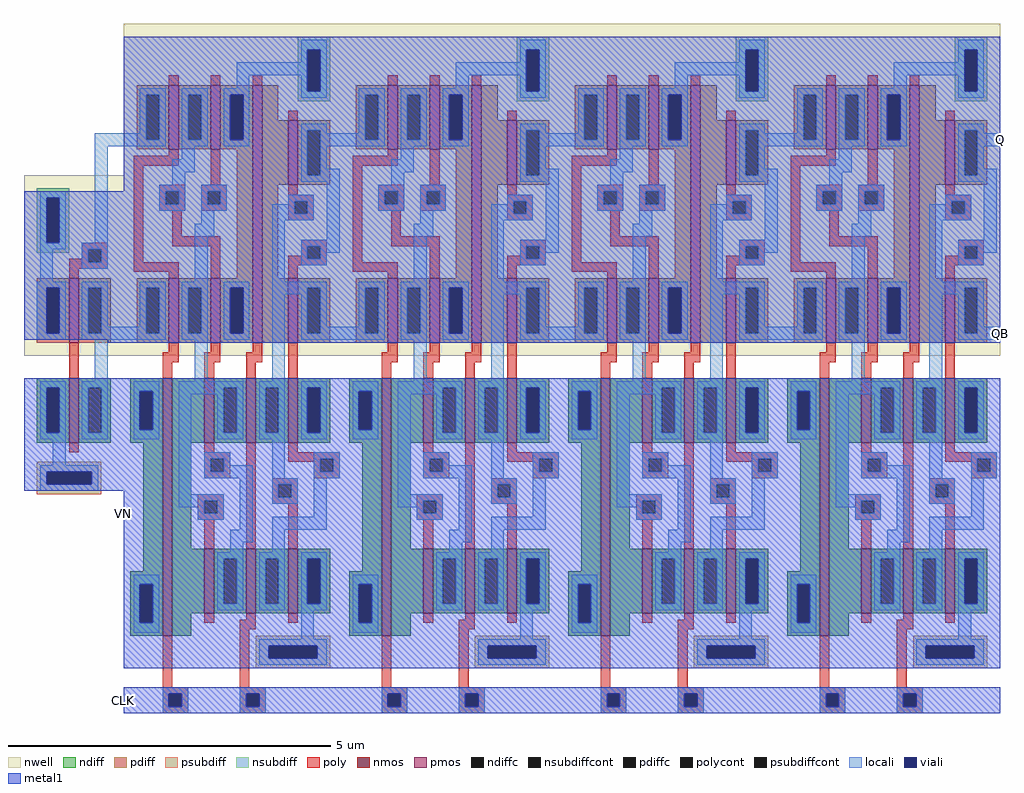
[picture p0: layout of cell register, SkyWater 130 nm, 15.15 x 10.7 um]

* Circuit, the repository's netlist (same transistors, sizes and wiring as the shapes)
* NGSPICE file created from register.ext - technology: sky130A

.subckt csrl_dff D DB CLK Q QB VP VN
X0 a_330_630# CLK VP VP sky130_fd_pr__pfet_01v8 ad=0.433 pd=3.03 as=0.5 ps=3.16 w=4 l=0.15
X1 a_50_n280# CLK VN VN sky130_fd_pr__nfet_01v8 ad=0.533 pd=3.13 as=1.6 ps=9.4 w=4 l=0.15
X2 Q QB a_330_630# VP sky130_fd_pr__pfet_01v8 ad=0.5 pd=3 as=0.433 ps=3.03 w=1 l=0.15
X3 a_70_630# CLK DB VP sky130_fd_pr__pfet_01v8 ad=0.25 pd=1.5 as=0.5 ps=3 w=1 l=0.15
X4 Q CLK a_10_1040# VN sky130_fd_pr__nfet_01v8 ad=0.25 pd=1.5 as=0.25 ps=1.5 w=1 l=0.15
X5 a_10_1040# CLK D VP sky130_fd_pr__pfet_01v8 ad=0.25 pd=1.5 as=0.5 ps=3 w=1 l=0.15
X6 a_10_1040# a_70_630# a_50_n280# VN sky130_fd_pr__nfet_01v8 ad=0.25 pd=1.5 as=0.533 ps=3.13 w=1 l=0.15
X7 QB Q a_330_630# VP sky130_fd_pr__pfet_01v8 ad=0.5 pd=3 as=0.433 ps=3.03 w=1 l=0.15
X8 VP a_70_630# a_10_1040# VP sky130_fd_pr__pfet_01v8 ad=0.5 pd=3.16 as=0.25 ps=1.5 w=1 l=0.15
X9 QB CLK a_70_630# VN sky130_fd_pr__nfet_01v8 ad=0.25 pd=1.5 as=0.25 ps=1.5 w=1 l=0.15
X10 a_70_630# a_10_1040# a_50_n280# VN sky130_fd_pr__nfet_01v8 ad=0.25 pd=1.5 as=0.533 ps=3.13 w=1 l=0.15
X11 VP a_10_1040# a_70_630# VP sky130_fd_pr__pfet_01v8 ad=0.5 pd=3.16 as=0.25 ps=1.5 w=1 l=0.15
X12 VN Q QB VN sky130_fd_pr__nfet_01v8 ad=0.5 pd=3 as=0.25 ps=1.5 w=1 l=0.15
X13 VN QB Q VN sky130_fd_pr__nfet_01v8 ad=0.5 pd=3 as=0.25 ps=1.5 w=1 l=0.15
.ends

.subckt inverter2 A Y VP VN
X0 Y A VP VP sky130_fd_pr__pfet_01v8 ad=0.5 pd=3 as=0.5 ps=3 w=1 l=0.15
X1 Y A VN VN sky130_fd_pr__nfet_01v8 ad=0.5 pd=3 as=0.5 ps=3 w=1 l=0.15
.ends


* Top level circuit register

Xcsrl_dff_0 csrl_dff_0/D inverter2_0/Y CLK csrl_dff_1/D csrl_dff_1/DB csrl_dff_3/VP
+ VN csrl_dff
Xcsrl_dff_1 csrl_dff_1/D csrl_dff_1/DB CLK csrl_dff_2/D csrl_dff_2/DB csrl_dff_3/VP
+ VN csrl_dff
Xcsrl_dff_2 csrl_dff_2/D csrl_dff_2/DB CLK csrl_dff_3/D csrl_dff_3/DB csrl_dff_3/VP
+ VN csrl_dff
Xcsrl_dff_3 csrl_dff_3/D csrl_dff_3/DB CLK Q QB csrl_dff_3/VP VN csrl_dff
Xinverter2_0 csrl_dff_0/D inverter2_0/Y csrl_dff_3/VP VN inverter2
.end

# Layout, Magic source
magic
tech sky130A
<< locali >>
rect 0 820 25 840
rect 1335 820 1360 840
rect 0 520 25 540
rect 1335 520 1360 540
<< metal1 >>
rect 0 515 20 990
rect 0 15 20 460
rect 0 -60 20 -20
use csrl_dff  csrl_dff_0
transform 1 0 50 0 1 200
box -50 -260 290 810
use csrl_dff  csrl_dff_1
transform 1 0 390 0 1 200
box -50 -260 290 810
use csrl_dff  csrl_dff_2
transform 1 0 730 0 1 200
box -50 -260 290 810
use csrl_dff  csrl_dff_3
transform 1 0 1070 0 1 200
box -50 -260 290 810
use inverter2  inverter2_0
transform 1 0 -75 0 1 385
box -80 -105 75 455
<< labels >>
rlabel metal1 0 250 0 250 7 VN
rlabel metal1 0 -40 0 -40 7 CLK
rlabel locali 1360 830 1360 830 3 Q
rlabel locali 1360 530 1360 530 3 QB
<< end >>

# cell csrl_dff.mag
magic
tech sky130A
<< nwell >>
rect -50 295 290 810
<< nmos >>
rect 10 -140 25 260
rect 75 160 90 260
rect 140 160 155 260
rect 205 160 220 260
rect 75 -105 90 -5
rect 140 -105 155 -5
rect 205 -105 220 -5
<< pmos >>
rect 20 615 35 715
rect 85 615 100 715
rect 20 315 35 415
rect 85 315 100 415
rect 150 315 165 715
rect 205 560 220 660
rect 205 315 220 415
<< ndiff >>
rect -40 240 10 260
rect -40 180 -25 240
rect -5 180 10 240
rect -40 160 10 180
rect -20 -40 10 160
rect -40 -60 10 -40
rect -40 -120 -25 -60
rect -5 -120 10 -60
rect -40 -140 10 -120
rect 25 160 75 260
rect 90 245 140 260
rect 90 175 105 245
rect 125 175 140 245
rect 90 160 140 175
rect 155 245 205 260
rect 155 175 170 245
rect 190 175 205 245
rect 155 160 205 175
rect 220 245 270 260
rect 220 175 235 245
rect 255 175 270 245
rect 220 160 270 175
rect 25 -5 55 160
rect 25 -105 75 -5
rect 90 -20 140 -5
rect 90 -90 105 -20
rect 125 -90 140 -20
rect 90 -105 140 -90
rect 155 -20 205 -5
rect 155 -90 170 -20
rect 190 -90 205 -20
rect 155 -105 205 -90
rect 220 -20 270 -5
rect 220 -90 235 -20
rect 255 -90 270 -20
rect 220 -105 270 -90
rect 25 -140 55 -105
<< pdiff >>
rect -30 700 20 715
rect -30 630 -15 700
rect 5 630 20 700
rect -30 615 20 630
rect 35 700 85 715
rect 35 630 50 700
rect 70 630 85 700
rect 35 615 85 630
rect 100 700 150 715
rect 100 630 115 700
rect 135 630 150 700
rect 100 615 150 630
rect 125 415 150 615
rect -30 400 20 415
rect -30 330 -15 400
rect 5 330 20 400
rect -30 315 20 330
rect 35 400 85 415
rect 35 330 50 400
rect 70 330 85 400
rect 35 315 85 330
rect 100 400 150 415
rect 100 330 115 400
rect 135 330 150 400
rect 100 315 150 330
rect 165 660 190 715
rect 165 560 205 660
rect 220 645 270 660
rect 220 575 235 645
rect 255 575 270 645
rect 220 560 270 575
rect 165 415 190 560
rect 165 315 205 415
rect 220 400 270 415
rect 220 330 235 400
rect 255 330 270 400
rect 220 315 270 330
<< ndiffc >>
rect -25 180 -5 240
rect -25 -120 -5 -60
rect 105 175 125 245
rect 170 175 190 245
rect 235 175 255 245
rect 105 -90 125 -20
rect 170 -90 190 -20
rect 235 -90 255 -20
<< pdiffc >>
rect -15 630 5 700
rect 50 630 70 700
rect 115 630 135 700
rect -15 330 5 400
rect 50 330 70 400
rect 115 330 135 400
rect 235 575 255 645
rect 235 330 255 400
<< psubdiff >>
rect 155 -155 270 -140
rect 155 -175 175 -155
rect 250 -175 270 -155
rect 155 -190 270 -175
<< nsubdiff >>
rect 220 770 270 790
rect 220 705 235 770
rect 255 705 270 770
rect 220 690 270 705
<< psubdiffcont >>
rect 175 -175 250 -155
<< nsubdiffcont >>
rect 235 705 255 770
<< poly >>
rect 20 715 35 730
rect 85 715 100 730
rect 150 715 165 730
rect 20 605 35 615
rect -35 590 35 605
rect -35 440 -20 590
rect 85 560 100 615
rect 5 550 45 560
rect 5 530 15 550
rect 35 530 45 550
rect 5 520 45 530
rect 70 550 110 560
rect 70 530 80 550
rect 100 530 110 550
rect 70 520 110 530
rect 25 480 40 520
rect 25 465 100 480
rect -35 425 35 440
rect 20 415 35 425
rect 85 415 100 465
rect 205 660 220 675
rect 205 545 220 560
rect 205 535 245 545
rect 205 515 215 535
rect 235 515 245 535
rect 205 505 245 515
rect 225 465 265 475
rect 225 450 235 465
rect 205 445 235 450
rect 255 445 265 465
rect 205 435 265 445
rect 205 415 220 435
rect 20 300 35 315
rect 85 300 100 315
rect 150 300 165 315
rect 10 285 35 300
rect 75 285 100 300
rect 140 285 165 300
rect 10 260 25 285
rect 75 260 90 285
rect 140 260 155 285
rect 205 260 220 315
rect 75 145 90 160
rect 75 135 115 145
rect 75 115 85 135
rect 105 115 115 135
rect 75 105 115 115
rect 65 70 105 80
rect 65 50 75 70
rect 95 50 105 70
rect 65 40 105 50
rect 75 -5 90 40
rect 140 -5 155 160
rect 205 145 220 160
rect 205 135 285 145
rect 205 130 255 135
rect 245 115 255 130
rect 275 115 285 135
rect 245 105 285 115
rect 180 95 220 105
rect 180 75 190 95
rect 210 75 220 95
rect 180 65 220 75
rect 205 -5 220 65
rect 75 -120 90 -105
rect 140 -115 155 -105
rect 130 -130 155 -115
rect 205 -120 220 -105
rect 10 -220 25 -140
rect 130 -220 145 -130
rect 10 -230 50 -220
rect 10 -250 20 -230
rect 40 -250 50 -230
rect 10 -260 50 -250
rect 130 -230 170 -220
rect 130 -250 140 -230
rect 160 -250 170 -230
rect 130 -260 170 -250
<< polycont >>
rect 15 530 35 550
rect 80 530 100 550
rect 215 515 235 535
rect 235 445 255 465
rect 85 115 105 135
rect 75 50 95 70
rect 255 115 275 135
rect 190 75 210 95
rect 20 -250 40 -230
rect 140 -250 160 -230
<< locali >>
rect 225 770 265 785
rect 225 750 235 770
rect 125 730 235 750
rect 125 710 145 730
rect -25 700 15 710
rect -25 640 -15 700
rect -50 630 -15 640
rect 5 630 15 700
rect -50 620 15 630
rect 40 700 80 710
rect 40 630 50 700
rect 70 630 80 700
rect 40 620 80 630
rect 105 700 145 710
rect 105 630 115 700
rect 135 630 145 700
rect 225 705 235 730
rect 255 705 265 770
rect 225 695 265 705
rect 105 620 145 630
rect 225 645 265 655
rect 40 600 60 620
rect 25 580 60 600
rect 25 560 45 580
rect 225 575 235 645
rect 255 640 265 645
rect 255 620 290 640
rect 255 585 265 620
rect 255 575 285 585
rect 225 565 285 575
rect 5 550 45 560
rect 5 530 15 550
rect 35 530 45 550
rect 5 520 45 530
rect 70 550 110 560
rect 70 530 80 550
rect 100 530 110 550
rect 205 535 245 545
rect 205 530 215 535
rect 70 520 110 530
rect 70 500 90 520
rect 60 480 90 500
rect 180 515 215 530
rect 235 515 245 535
rect 180 505 245 515
rect 60 410 80 480
rect 180 410 200 505
rect 265 475 285 565
rect 225 465 285 475
rect 225 445 235 465
rect 255 455 285 465
rect 255 445 265 455
rect 225 435 265 445
rect -25 400 15 410
rect -25 340 -15 400
rect -50 330 -15 340
rect 5 330 15 400
rect -50 320 15 330
rect 40 400 80 410
rect 40 330 50 400
rect 70 330 80 400
rect 40 320 80 330
rect 105 400 145 410
rect 105 330 115 400
rect 135 330 145 400
rect 105 320 145 330
rect 180 400 265 410
rect 180 390 235 400
rect 60 255 80 320
rect 180 255 200 390
rect 225 330 235 390
rect 255 340 265 400
rect 255 330 290 340
rect 225 320 290 330
rect -35 240 5 255
rect -35 180 -25 240
rect -5 180 5 240
rect -35 165 5 180
rect 35 245 135 255
rect 35 235 105 245
rect 35 80 55 235
rect 95 175 105 235
rect 125 175 135 245
rect 95 165 135 175
rect 160 245 200 255
rect 160 175 170 245
rect 190 175 200 245
rect 160 165 200 175
rect 225 245 265 255
rect 225 175 235 245
rect 255 175 265 245
rect 225 165 265 175
rect 75 135 115 145
rect 75 115 85 135
rect 105 125 115 135
rect 105 115 150 125
rect 75 105 150 115
rect 35 70 105 80
rect 35 60 75 70
rect 65 50 75 60
rect 95 50 105 70
rect 65 40 105 50
rect 130 25 150 105
rect 180 105 200 165
rect 245 135 285 145
rect 245 115 255 135
rect 275 115 285 135
rect 245 105 285 115
rect 180 95 220 105
rect 180 75 190 95
rect 210 75 220 95
rect 180 65 220 75
rect 245 45 265 105
rect 115 5 150 25
rect 180 25 265 45
rect 115 -10 135 5
rect 180 -10 200 25
rect 95 -20 135 -10
rect -35 -60 5 -45
rect -35 -120 -25 -60
rect -5 -120 5 -60
rect 95 -90 105 -20
rect 125 -90 135 -20
rect 95 -100 135 -90
rect 160 -20 200 -10
rect 160 -90 170 -20
rect 190 -90 200 -20
rect 160 -100 200 -90
rect 225 -20 265 -10
rect 225 -90 235 -20
rect 255 -90 265 -20
rect 225 -100 265 -90
rect -35 -135 5 -120
rect 225 -145 245 -100
rect 160 -155 265 -145
rect 160 -175 175 -155
rect 250 -175 265 -155
rect 160 -185 265 -175
rect 10 -230 50 -220
rect 10 -250 20 -230
rect 40 -250 50 -230
rect 10 -260 50 -250
rect 130 -230 170 -220
rect 130 -250 140 -230
rect 160 -250 170 -230
rect 130 -260 170 -250
<< viali >>
rect 115 630 135 700
rect 235 705 255 770
rect 115 330 135 400
rect -25 180 -5 240
rect 235 175 255 245
rect -25 -120 -5 -60
rect 235 -90 255 -20
rect 175 -175 250 -155
rect 20 -250 40 -230
rect 140 -250 160 -230
<< metal1 >>
rect -50 770 290 790
rect -50 705 235 770
rect 255 705 290 770
rect -50 700 290 705
rect -50 630 115 700
rect 135 630 290 700
rect -50 400 290 630
rect -50 330 115 400
rect 135 330 290 400
rect -50 315 290 330
rect -50 245 290 260
rect -50 240 235 245
rect -50 180 -25 240
rect -5 180 235 240
rect -50 175 235 180
rect 255 175 290 245
rect -50 -20 290 175
rect -50 -60 235 -20
rect -50 -120 -25 -60
rect -5 -90 235 -60
rect 255 -90 290 -20
rect -5 -120 290 -90
rect -50 -155 290 -120
rect -50 -175 175 -155
rect 250 -175 290 -155
rect -50 -190 290 -175
rect -50 -230 290 -220
rect -50 -250 20 -230
rect 40 -250 140 -230
rect 160 -250 290 -230
rect -50 -260 290 -250
<< labels >>
rlabel metal1 -50 50 -50 50 3 VN
port 7 e
rlabel locali -50 330 -50 330 7 DB
port 2 w
rlabel metal1 -50 -240 -50 -240 7 CLK
port 3 w
rlabel metal1 -50 560 -50 560 7 VP
port 6 w
rlabel locali -50 630 -50 630 7 D
port 1 w
rlabel locali 290 330 290 330 3 QB
port 5 e
rlabel locali 290 630 290 630 3 Q
port 4 e
<< end >>

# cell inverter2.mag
magic
tech sky130A
<< nwell >>
rect -80 110 75 390
<< nmos >>
rect -10 -25 5 75
<< pmos >>
rect -10 130 5 230
<< ndiff >>
rect -60 60 -10 75
rect -60 -10 -45 60
rect -25 -10 -10 60
rect -60 -25 -10 -10
rect 5 60 55 75
rect 5 -10 20 60
rect 40 -10 55 60
rect 5 -25 55 -10
<< pdiff >>
rect -60 215 -10 230
rect -60 145 -45 215
rect -25 145 -10 215
rect -60 130 -10 145
rect 5 215 55 230
rect 5 145 20 215
rect 40 145 55 215
rect 5 130 55 145
<< ndiffc >>
rect -45 -10 -25 60
rect 20 -10 40 60
<< pdiffc >>
rect -45 145 -25 215
rect 20 145 40 215
<< psubdiff >>
rect -60 -70 40 -55
rect -60 -90 -45 -70
rect 25 -90 40 -70
rect -60 -105 40 -90
<< nsubdiff >>
rect -60 355 -10 370
rect -60 285 -45 355
rect -25 285 -10 355
rect -60 270 -10 285
<< psubdiffcont >>
rect -45 -90 25 -70
<< nsubdiffcont >>
rect -45 285 -25 355
<< poly >>
rect 10 275 50 285
rect 10 260 20 275
rect -10 255 20 260
rect 40 255 50 275
rect -10 245 50 255
rect -10 230 5 245
rect -10 75 5 130
rect -10 -40 5 -25
<< polycont >>
rect 20 255 40 275
<< locali >>
rect 30 435 75 455
rect -55 355 -15 365
rect -55 285 -45 355
rect -25 285 -15 355
rect 30 285 50 435
rect -55 275 -15 285
rect 10 275 50 285
rect -55 225 -35 275
rect 10 255 20 275
rect 40 255 50 275
rect 10 245 50 255
rect -60 215 -15 225
rect -60 145 -45 215
rect -25 145 -15 215
rect -60 135 -15 145
rect 10 215 50 225
rect 10 145 20 215
rect 40 155 50 215
rect 40 145 75 155
rect 10 135 75 145
rect 30 70 50 135
rect -55 60 -15 70
rect -55 -10 -45 60
rect -25 -10 -15 60
rect -55 -20 -15 -10
rect 10 60 50 70
rect 10 -10 20 60
rect 40 -10 50 60
rect 10 -20 50 -10
rect -35 -60 -15 -20
rect -55 -70 35 -60
rect -55 -90 -45 -70
rect 25 -90 35 -70
rect -55 -100 35 -90
<< viali >>
rect -45 285 -25 355
rect -45 145 -25 215
rect -45 -10 -25 60
rect -45 -90 25 -70
<< metal1 >>
rect -80 355 75 365
rect -80 285 -45 355
rect -25 285 75 355
rect -80 215 75 285
rect -80 145 -45 215
rect -25 145 75 215
rect -80 135 75 145
rect 50 130 75 135
rect -80 60 75 75
rect -80 -10 -45 60
rect -25 -10 75 60
rect -80 -70 75 -10
rect -80 -90 -45 -70
rect 25 -90 75 -70
rect -80 -100 75 -90
<< labels >>
rlabel locali 75 145 75 145 3 Y
port 2 e
rlabel metal1 -80 180 -80 180 7 VP
port 3 w
rlabel metal1 -80 25 -80 25 7 VN
port 4 w
rlabel locali 75 445 75 445 7 A
port 1 w
<< end >>
